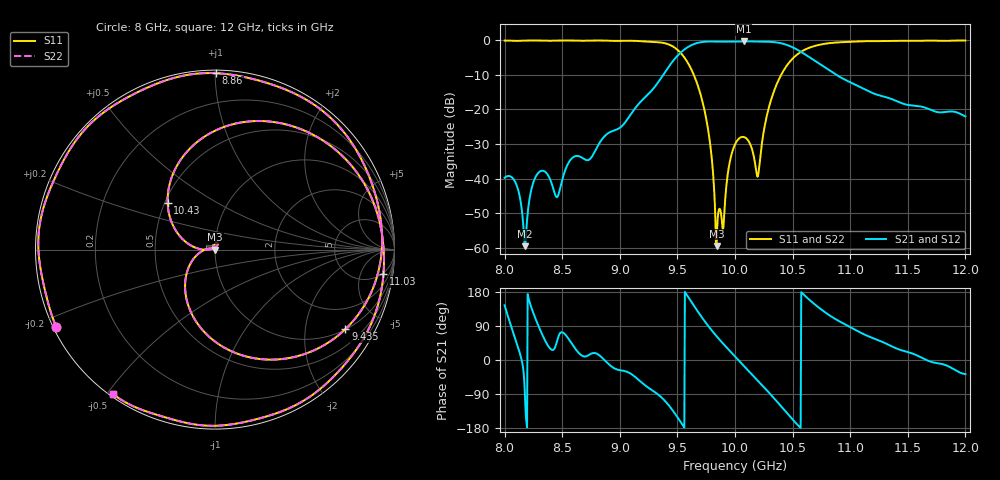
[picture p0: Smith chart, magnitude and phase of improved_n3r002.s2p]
! Improved SIW post filter n3r002: order 3, ripple 0.02 dB
! openEMS v0.37 FDTD, reciprocal & symmetric: S22=S11, S12=S21
# GHz S MA R 50
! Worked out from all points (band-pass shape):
!   801 points, 8 GHz to 12 GHz, reference 50 ohm
!   highest |S21| = -0.38 dB at 10.07 GHz (marker M1); lowest = -59.4 dB at 8.175 GHz (marker M2)
!   |S21| within 3 dB of the highest: 9.536 GHz to 10.57 GHz (1.035 GHz wide, 10.3 % of centre)
!   lowest |S11| = -59.3 dB at 9.84 GHz (marker M3), VSWR 1.00, Z = 50.1 + j0.0213 ohm
!   |S11| at or under -10 dB: 9.642 GHz to 10.4 GHz (759.3 MHz wide, 7.58 % of centre)
!   |S22| runs from -59.3 to -0.1 dB; largest |S21 - S12| = 0
!   S11 on the Smith chart (normalised r, x): 8 GHz: 0.01, -0.23; 8.86 GHz: 0.02, +1.01; 9.435 GHz: 1.02, -3.27; 10.43 GHz: 0.52, +0.31; 11.03 GHz: 5, -12; 12 GHz: 0.01, -0.52
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8  0.9836 -154.2  0.01033 144.5  0.01033 144.5  0.9836 -154.2
8.105  0.9743 -167.9  0.00802 44.4  0.00802 44.4  0.9743 -167.9
8.175  0.9809 -176.8  0.001068 -83.0  0.001068 -83.0  0.9809 -176.8
8.29  0.9847 167.5  0.01205 92.6  0.01205 92.6  0.9847 167.5
8.455  0.9816 146.2  0.005432 49.5  0.005432 49.5  0.9816 146.2
8.67  0.9773 116.9  0.02022 11.7  0.02022 11.7  0.9773 116.9
8.86  0.9828 89.6  0.03981 2.0  0.03981 2.0  0.9828 89.6
9.335  0.9302 0.8  0.2489 -91.7  0.2489 -91.7  0.9302 0.8
9.435  0.8511 -31.4  0.4363 -123.4  0.4363 -123.4  0.8511 -31.4
9.59  0.4716 -96.1  0.7902 167.9  0.7902 167.9  0.4716 -96.1
9.71  0.1451 -153.1  0.9348 113.6  0.9348 113.6  0.1451 -153.1
9.785  0.03109 168.2  0.9525 83.1  0.9525 83.1  0.03109 168.2
9.84  0.001079 11.3  0.9495 62.8  0.9495 62.8  0.001079 11.3
9.9  0.002046 -164.0  0.9467 42.1  0.9467 42.1  0.002046 -164.0
10  0.03124 93.2  0.9539 9.2  0.9539 9.2  0.03124 93.2
10.075  0.04011 70.0  0.9577 -15.1  0.9577 -15.1  0.04011 70.0
10.2  0.01106 130.5  0.9523 -55.1  0.9523 -55.1  0.01106 130.5
10.425  0.3709 135.4  0.8775 -131.1  0.8775 -131.1  0.3709 135.4
10.67  0.8017 60.5  0.5334 152.4  0.5334 152.4  0.8017 60.5
11.025  0.9484 -8.2  0.2357 82.7  0.2357 82.7  0.9484 -8.2
11.335  0.9708 -50.5  0.146 39.8  0.146 39.8  0.9708 -50.5
12  0.9851 -125.0  0.07929 -37.3  0.07929 -37.3  0.9851 -125.0
